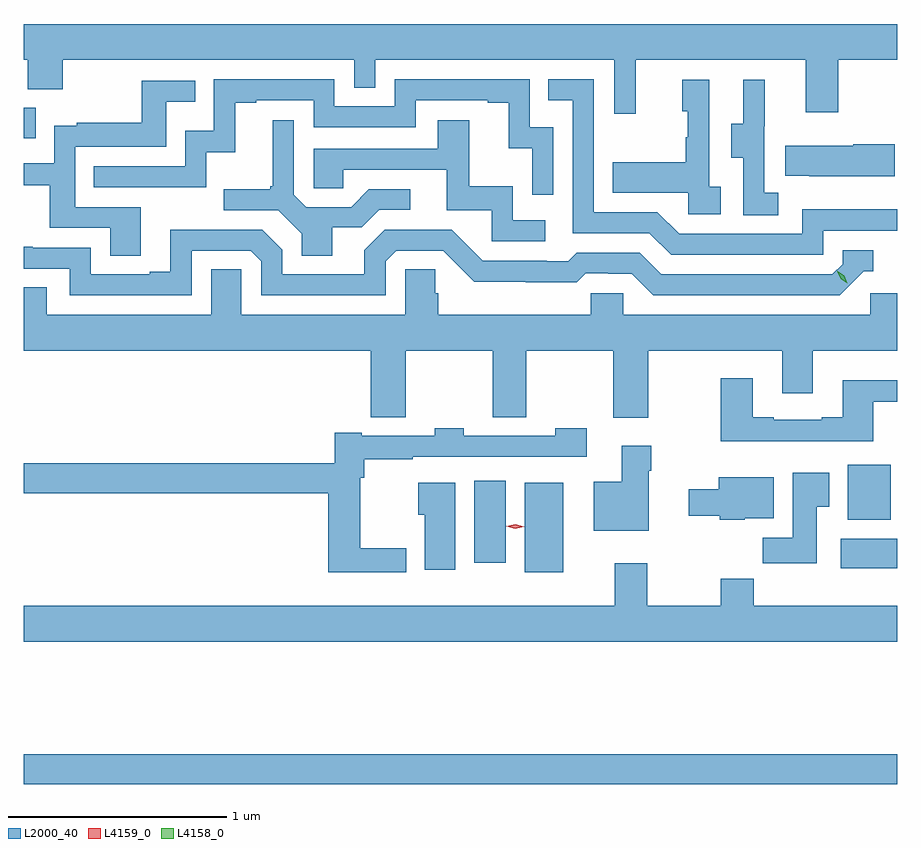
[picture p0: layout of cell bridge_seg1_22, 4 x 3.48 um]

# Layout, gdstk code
import gdstk
lib = gdstk.Library(unit=1e-6, precision=1e-09)
def R(c, l, rs):  # rectangles x0, y0, x1, y1
    for r in rs: c.add(gdstk.rectangle(r[:2], r[2:], *l))
def P(c, l, *ps):  # polygons
    for p in ps: c.add(gdstk.Polygon(p, *l))
L2000_40 = (2000, 40)
L4158_0 = (4158, 0)
L4159_0 = (4159, 0)

bridge_seg1_22 = lib.new_cell('bridge_seg1_22')
R(bridge_seg1_22, L2000_40, [(1022.873,560.404,1026.873,560.54), (1025.168,561.374,1025.344,561.784), (1026.615,561.392,1026.873,561.526), (1024.937,561.417,1025.08,561.793), (1026.647,561.614,1026.843,561.865), (1022.873,563.36,1022.927,563.5)])
P(bridge_seg1_22, L2000_40, [(1025.675,563.72),(1026.455,563.72),(1026.455,563.481),(1026.603,563.481),(1026.603,563.72),(1026.873,563.72),(1026.873,563.884),(1022.873,563.884),(1022.873,563.72),(1022.891,563.72),(1022.891,563.585),(1023.051,563.585),(1023.051,563.72),(1024.386,563.72),(1024.386,563.593),(1024.482,563.593),(1024.482,563.72),(1025.577,563.72),(1025.577,563.472),(1025.675,563.472)],
  [(1026.534,562.938),(1026.873,562.938),(1026.873,563.035),(1026.438,563.035),(1026.438,562.923),(1025.874,562.923),(1025.775,563.022),(1025.484,563.022),(1025.484,563.631),(1025.275,563.631),(1025.275,563.535),(1025.388,563.535),(1025.388,562.926),(1025.738,562.926),(1025.837,562.827),(1026.534,562.827)],
  [(1025.298,563.412),(1025.19,563.412),(1025.19,563.631),(1024.572,563.631),(1024.572,563.508),(1024.296,563.508),(1024.296,563.631),(1023.744,563.631),(1023.744,563.395),(1023.612,563.395),(1023.612,563.232),(1023.193,563.232),(1023.193,563.136),(1023.708,563.136),(1023.708,563.297),(1023.841,563.297),(1023.841,563.523),(1023.937,563.523),(1023.937,563.535),(1024.2,563.535),(1024.2,563.412),(1024.668,563.412),(1024.668,563.535),(1024.997,563.535),(1024.997,563.523),(1025.093,563.523),(1025.093,563.315),(1025.202,563.315),(1025.202,563.103),(1025.298,563.103)],
  [(1026.064,563.138),(1026.012,563.138),(1026.012,563.629),(1025.888,563.629),(1025.888,563.484),(1025.914,563.484),(1025.914,563.366),(1025.904,563.366),(1025.904,563.251),(1025.569,563.251),(1025.569,563.111),(1025.916,563.111),(1025.916,563.013),(1026.064,563.013)],
  [(1026.328,563.111),(1026.264,563.111),(1026.264,563.415),(1026.266,563.415),(1026.266,563.629),(1026.167,563.629),(1026.167,563.427),(1026.113,563.427),(1026.113,563.272),(1026.168,563.272),(1026.168,563.008),(1026.328,563.008)],
  [(1023.409,563.046),(1023.108,563.046),(1023.108,563.322),(1023.525,563.322),(1023.525,563.528),(1023.659,563.528),(1023.659,563.625),(1023.414,563.625),(1023.414,563.431),(1023.115,563.431),(1023.115,563.419),(1023.012,563.419),(1023.012,563.247),(1022.873,563.247),(1022.873,563.146),(1022.992,563.146),(1022.992,562.95),(1023.269,562.95),(1023.269,562.822),(1023.409,562.822)],
  [(1024.285,562.954),(1024.42,562.954),(1024.5,563.034),(1024.642,563.034),(1024.642,563.127),(1024.454,563.127),(1024.373,563.046),(1024.167,563.046),(1024.11,563.103),(1024.11,563.443),(1024.013,563.443),(1024.013,563.14),(1024.002,563.14),(1024.002,563.128),(1023.789,563.128),(1023.789,563.031),(1024.038,563.031),(1024.145,562.924),(1024.145,562.822),(1024.285,562.822)],
  [(1025.26,562.986),(1025.112,562.986),(1025.112,563.14),(1024.913,563.14),(1024.913,563.443),(1024.769,563.443),(1024.769,563.313),(1024.2,563.313),(1024.2,563.133),(1024.337,563.133),(1024.337,563.217),(1024.811,563.217),(1024.811,563.031),(1025.016,563.031),(1025.016,562.89),(1025.26,562.89)],
  [(1026.862,563.334),(1026.671,563.334),(1026.671,563.326),(1026.361,563.326),(1026.361,563.189),(1026.469,563.189),(1026.469,563.186),(1026.862,563.186)],
  [(1023.642,562.845),(1023.912,562.845),(1023.96,562.797),(1023.96,562.641),(1024.53,562.641),(1024.53,562.797),(1024.578,562.845),(1024.794,562.845),(1024.936,562.703),(1025.172,562.703),(1025.172,562.701),(1025.405,562.701),(1025.447,562.743),(1025.55,562.743),(1025.55,562.74),(1025.657,562.74),(1025.756,562.641),(1026.609,562.641),(1026.72,562.752),(1026.763,562.752),(1026.763,562.848),(1026.624,562.848),(1026.624,562.785),(1026.576,562.737),(1025.793,562.737),(1025.694,562.836),(1025.405,562.836),(1025.366,562.797),(1025.267,562.797),(1025.267,562.8),(1024.974,562.8),(1024.833,562.941),(1024.527,562.941),(1024.433,562.847),(1024.433,562.737),(1024.056,562.737),(1024.056,562.851),(1023.966,562.941),(1023.75,562.941),(1023.75,562.943),(1023.545,562.943),(1023.545,562.75),(1023.449,562.75),(1023.449,562.737),(1023.18,562.737),(1023.18,562.86),(1022.915,562.86),(1022.915,562.865),(1022.873,562.865),(1022.873,562.764),(1023.084,562.764),(1023.084,562.641),(1023.642,562.641)],
  [(1025.732,562.388),(1026.347,562.388),(1026.347,562.194),(1026.487,562.194),(1026.487,562.388),(1026.873,562.388),(1026.873,562.65),(1026.75,562.65),(1026.75,562.552),(1025.619,562.552),(1025.619,562.65),(1025.469,562.65),(1025.469,562.552),(1024.772,562.552),(1024.772,562.65),(1024.757,562.65),(1024.757,562.76),(1024.62,562.76),(1024.62,562.552),(1023.87,562.552),(1023.87,562.76),(1023.731,562.76),(1023.731,562.552),(1022.979,562.552),(1022.979,562.679),(1022.873,562.679),(1022.873,562.388),(1024.463,562.388),(1024.463,562.084),(1024.622,562.084),(1024.622,562.388),(1025.02,562.388),(1025.02,562.084),(1025.174,562.084),(1025.174,562.388),(1025.572,562.388),(1025.572,562.08),(1025.732,562.08)],
  [(1026.763,562.155),(1026.873,562.155),(1026.873,562.252),(1026.623,562.252),(1026.623,562.084),(1026.527,562.084),(1026.527,562.071),(1026.307,562.071),(1026.307,562.084),(1026.211,562.084),(1026.211,562.261),(1026.064,562.261),(1026.064,561.974),(1026.763,561.974)],
  [(1024.624,561.484),(1024.414,561.484),(1024.414,561.806),(1024.433,561.806),(1024.433,561.891),(1024.655,561.891),(1024.655,561.903),(1025.452,561.903),(1025.452,562.032),(1025.307,562.032),(1025.307,561.999),(1024.887,561.999),(1024.887,562.032),(1024.755,562.032),(1024.755,561.999),(1024.42,561.999),(1024.42,562.012),(1024.297,562.012),(1024.297,561.872),(1022.873,561.872),(1022.873,561.736),(1024.268,561.736),(1024.268,561.374),(1024.624,561.374)],
  [(1025.734,561.839),(1025.747,561.839),(1025.747,561.952),(1025.612,561.952),(1025.612,561.787),(1025.483,561.787),(1025.483,561.563),(1025.734,561.563)],
  [(1026.505,561.673),(1026.562,561.673),(1026.562,561.829),(1026.395,561.829),(1026.395,561.532),(1026.256,561.532),(1026.256,561.414),(1026.505,561.414)],
  [(1026.174,561.62),(1026.307,561.62),(1026.307,561.808),(1026.056,561.808),(1026.056,561.754),(1025.919,561.754),(1025.919,561.632),(1026.06,561.632),(1026.06,561.614),(1026.174,561.614)],
  [(1024.849,561.784),(1024.679,561.784),(1024.679,561.637),(1024.709,561.637),(1024.709,561.384),(1024.849,561.384)],
  [(1026.873,561.22),(1026.215,561.22),(1026.215,561.344),(1026.064,561.344),(1026.064,561.22),(1025.727,561.22),(1025.727,561.415),(1025.579,561.415),(1025.579,561.22),(1022.873,561.22),(1022.873,561.056),(1026.873,561.056)])
P(bridge_seg1_22, L4158_0, [(1026.645,562.697),(1026.615,562.718),(1026.599,562.751),(1026.599,562.751),(1026.6,562.751),(1026.63,562.731),(1026.645,562.698),(1026.645,562.697)])
P(bridge_seg1_22, L4159_0, [(1025.123,561.573),(1025.082,561.584),(1025.082,561.584),(1025.082,561.584),(1025.123,561.593),(1025.164,561.583),(1025.164,561.583),(1025.164,561.583)])

lib.write_gds('bridge_seg1_22.gds')
